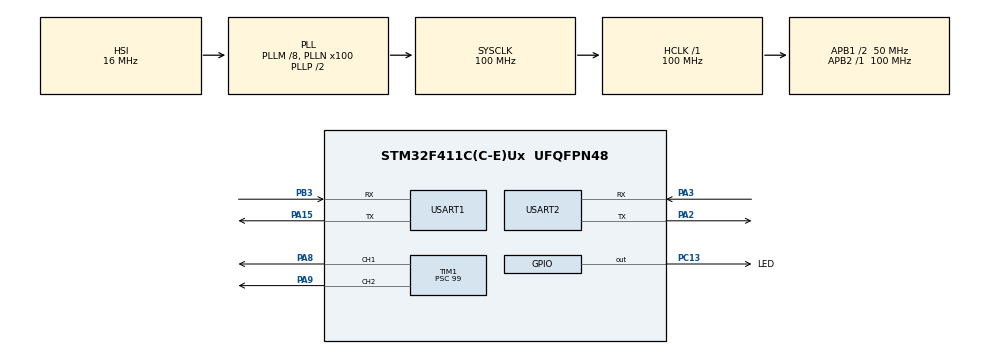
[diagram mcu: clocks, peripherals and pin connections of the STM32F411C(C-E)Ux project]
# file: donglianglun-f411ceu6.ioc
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Dma.Request0=USART1_RX
Dma.USART1_RX.0.Direction=DMA_PERIPH_TO_MEMORY
Dma.USART1_RX.0.FIFOMode=DMA_FIFOMODE_DISABLE
Dma.USART1_RX.0.Instance=DMA2_Stream2
Dma.USART1_RX.0.MemDataAlignment=DMA_MDATAALIGN_BYTE
Dma.USART1_RX.0.MemInc=DMA_MINC_ENABLE
Dma.USART1_RX.0.Mode=DMA_CIRCULAR
Dma.USART1_RX.0.PeriphDataAlignment=DMA_PDATAALIGN_BYTE
Dma.USART1_RX.0.PeriphInc=DMA_PINC_DISABLE
Dma.USART1_RX.0.Priority=DMA_PRIORITY_HIGH
Mcu.Family=STM32F4
Mcu.Name=STM32F411C(C-E)Ux
Mcu.Package=UFQFPN48
NVIC.DMA2_Stream2_IRQn=true\:0\:0\:false\:false\:true\:false\:true
NVIC.PriorityGroup=NVIC_PRIORITYGROUP_4
NVIC.TIM2_IRQn=true\:0\:0\:false\:false\:true\:true\:true
NVIC.USART1_IRQn=true\:0\:0\:false\:false\:false\:true\:true
NVIC.USART2_IRQn=true\:0\:0\:false\:false\:true\:true\:true
PA13.Mode=Serial_Wire
PA13.Signal=SYS_JTMS-SWDIO
PA14.Mode=Serial_Wire
PA14.Signal=SYS_JTCK-SWCLK
PA15.Mode=Asynchronous
PA15.Signal=USART1_TX
PA2.Mode=Asynchronous
PA2.Signal=USART2_TX
PA3.Mode=Asynchronous
PA3.Signal=USART2_RX
PA8.Signal=S_TIM1_CH1
PA9.Signal=S_TIM1_CH2
PB3.Mode=Asynchronous
PB3.Signal=USART1_RX
PC13-ANTI_TAMP.GPIO_Label=LED
PC13-ANTI_TAMP.PinState=GPIO_PIN_SET
PC13-ANTI_TAMP.Signal=GPIO_Output
PH0\ -\ OSC_IN.Mode=HSE-External-Oscillator
PH0\ -\ OSC_IN.Signal=RCC_OSC_IN
PH1\ -\ OSC_OUT.Mode=HSE-External-Oscillator
PH1\ -\ OSC_OUT.Signal=RCC_OSC_OUT
ProjectManager.HeapSize=0x200
ProjectManager.StackSize=0x400
ProjectManager.TargetToolchain=MDK-ARM V5
RCC.48MHZClocksFreq_Value=50000000
RCC.AHBFreq_Value=100000000
RCC.APB1CLKDivider=RCC_HCLK_DIV2
RCC.APB1Freq_Value=50000000
RCC.APB1TimFreq_Value=100000000
RCC.APB2Freq_Value=100000000
RCC.APB2TimFreq_Value=100000000
RCC.CortexFreq_Value=100000000
RCC.HCLKFreq_Value=100000000
RCC.HSE_VALUE=25000000
RCC.HSI_VALUE=16000000
RCC.LSE_VALUE=32768
RCC.PLLM=8
RCC.PLLN=100
RCC.SYSCLKFreq_VALUE=100000000
RCC.SYSCLKSource=RCC_SYSCLKSOURCE_PLLCLK
RCC.VCOOutputFreq_Value=200000000
SH.S_TIM1_CH1.0=TIM1_CH1,PWM Generation1 CH1
SH.S_TIM1_CH2.0=TIM1_CH2,PWM Generation2 CH2
TIM1.AutoReloadPreload=TIM_AUTORELOAD_PRELOAD_ENABLE
TIM1.Channel-PWM\ Generation1\ CH1=TIM_CHANNEL_1
TIM1.Channel-PWM\ Generation2\ CH2=TIM_CHANNEL_2
TIM1.Period=19999
TIM1.Prescaler=99
TIM1.Pulse-PWM\ Generation1\ CH1=1500
TIM1.Pulse-PWM\ Generation2\ CH2=1500
TIM2.Period=19999
TIM2.Prescaler=99
USART1.VirtualMode=VM_ASYNC
USART2.VirtualMode=VM_ASYNC
VP_TIM1_VS_ClockSourceINT.Mode=Internal
VP_TIM2_VS_ClockSourceINT.Mode=Internal
board=custom

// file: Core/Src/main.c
/* USER CODE BEGIN Header */
/**
  ******************************************************************************
  * @file           : main.c
  * @brief          : Main program body
  ******************************************************************************
  * @attention
  *
  * <h2><center>&copy; Copyright (c) 2021 STMicroelectronics.
  * All rights reserved.</center></h2>
  *
  * This software component is licensed by ST under BSD 3-Clause license,
  * the "License"; You may not use this file except in compliance with the
  * License. You may obtain a copy of the License at:
  *                        opensource.org/licenses/BSD-3-Clause
  *
  ******************************************************************************
  */
/* USER CODE END Header */
#include "main.h"
#include "dma.h"
#include "tim.h"
#include "usart.h"
#include "gpio.h"

/* USER CODE BEGIN PD */
#define LED_ON() HAL_GPIO_WritePin(LED_GPIO_Port, LED_Pin, GPIO_PIN_RESET)
#define LED_OFF() HAL_GPIO_WritePin(LED_GPIO_Port, LED_Pin, GPIO_PIN_SET)
#define LED_TOGGLE() HAL_GPIO_TogglePin(LED_GPIO_Port, LED_Pin)

#define ABS(x)		((x>0)? x: -x)

#define PWM_ZERO 1500
#define PWM_AMPLITUDE 300
#define PWMY_MAX PWM_ZERO + PWM_AMPLITUDE
#define PWMY_MIN PWM_ZERO - PWM_AMPLITUDE
#define PWMX_MAX PWM_ZERO + PWM_AMPLITUDE
#define PWMX_MIN PWM_ZERO - PWM_AMPLITUDE

/* USER CODE END PD */

void SystemClock_Config(void);
/* USER CODE BEGIN PFP */
float X_Velocity_Control(int encoder);  // X轴速度控制
float Y_Velocity_Control(int encoder);  // Y轴速度控制
float X_balance_Control(float Angle,float Angle_Zero,float Gyro);  // X轴角度控制
float Y_balance_Control(float Angle,float Angle_Zero,float Gyro);  // Y轴角度控制
void MotorSet(uint16_t mx, uint16_t my);

/* USER CODE END PFP */

/* USER CODE BEGIN 0 */

uint8_t MPUflag=0;
uint8_t MPUBuffer[22];
float MPU_gyro[3]={0};
float MPU_angle[3]={0};

uint8_t Start_Flag=0;
int Balance_X,Balance_Y;  // 三轴角度控制量
int	Velocity_X,Velocity_Y;  // 三轴速度控制量
float MotorX=1500, MotorY=1500;

/* USER CODE END 0 */

int main(void)
{

  /* MCU Configuration--------------------------------------------------------*/

  /* Reset of all peripherals, Initializes the Flash interface and the Systick. */
  HAL_Init();

  /* Configure the system clock */
  SystemClock_Config();

  /* Initialize all configured peripherals */
  MX_GPIO_Init();
  MX_DMA_Init();
  MX_USART1_UART_Init();
  MX_USART2_UART_Init();
  MX_TIM1_Init();
  MX_TIM2_Init();
  /* USER CODE BEGIN 2 */

	/* USART1: MPU9250 115200(DMA) 100hz, USART2: PC 115200 */
	My_UART_DMA_Init();
	HAL_TIM_PWM_Start(&htim1,TIM_CHANNEL_1);
	HAL_TIM_PWM_Start(&htim1,TIM_CHANNEL_2);
	__HAL_TIM_SET_COMPARE(&htim1, TIM_CHANNEL_1, 1500);
	__HAL_TIM_SET_COMPARE(&htim1, TIM_CHANNEL_2, 1500);
	HAL_Delay(1500);
	HAL_TIM_Base_Start_IT(&htim2);

  /* USER CODE END 2 */

  /* Infinite loop */
  /* USER CODE BEGIN WHILE */
	float MotorX_last=1500, MotorY_last=1500;
  while (1)
  {
    /* USER CODE END WHILE */

    /* USER CODE BEGIN 3 */
		if(MPUflag)
		{
			MPUflag = 0;
			/* PID calculate */
			Balance_X = X_balance_Control(MPU_angle[0],0,MPU_gyro[0]);
			Balance_Y = Y_balance_Control(MPU_angle[1],0,MPU_gyro[1]);
			Velocity_X = X_Velocity_Control(MotorX_last-1500);
			Velocity_Y = Y_Velocity_Control(MotorY_last-1500);
			MotorX = 1500 + Balance_X + Velocity_X;
			MotorY = 1500 + Balance_Y + Velocity_Y;
			/* limit max and min */
			if(MotorX > PWMX_MAX) MotorX = PWMX_MAX;
			else if(MotorX < PWMX_MIN) MotorX = PWMX_MIN;
			if(MotorY > PWMY_MAX) MotorY = PWMY_MAX;
			else if(MotorY < PWMY_MIN) MotorY = PWMY_MIN;
			/* save last*/
			MotorX_last = MotorX, MotorY_last = MotorY;
			/* motor output */
			MotorSet(MotorX, MotorY);
		}
	}
  /* USER CODE END 3 */
}

void SystemClock_Config(void)
{
  RCC_OscInitTypeDef RCC_OscInitStruct = {0};
  RCC_ClkInitTypeDef RCC_ClkInitStruct = {0};

  /** Configure the main internal regulator output voltage
  */
  __HAL_RCC_PWR_CLK_ENABLE();
  __HAL_PWR_VOLTAGESCALING_CONFIG(PWR_REGULATOR_VOLTAGE_SCALE1);
  /** Initializes the RCC Oscillators according to the specified parameters
  * in the RCC_OscInitTypeDef structure.
  */
  RCC_OscInitStruct.OscillatorType = RCC_OSCILLATORTYPE_HSI;
  RCC_OscInitStruct.HSIState = RCC_HSI_ON;
  RCC_OscInitStruct.HSICalibrationValue = RCC_HSICALIBRATION_DEFAULT;
  RCC_OscInitStruct.PLL.PLLState = RCC_PLL_ON;
  RCC_OscInitStruct.PLL.PLLSource = RCC_PLLSOURCE_HSI;
  RCC_OscInitStruct.PLL.PLLM = 8;
  RCC_OscInitStruct.PLL.PLLN = 100;
  RCC_OscInitStruct.PLL.PLLP = RCC_PLLP_DIV2;
  RCC_OscInitStruct.PLL.PLLQ = 4;
  if (HAL_RCC_OscConfig(&RCC_OscInitStruct) != HAL_OK)
  {
    Error_Handler();
  }
  /** Initializes the CPU, AHB and APB buses clocks
  */
  RCC_ClkInitStruct.ClockType = RCC_CLOCKTYPE_HCLK|RCC_CLOCKTYPE_SYSCLK
                              |RCC_CLOCKTYPE_PCLK1|RCC_CLOCKTYPE_PCLK2;
  RCC_ClkInitStruct.SYSCLKSource = RCC_SYSCLKSOURCE_PLLCLK;
  RCC_ClkInitStruct.AHBCLKDivider = RCC_SYSCLK_DIV1;
  RCC_ClkInitStruct.APB1CLKDivider = RCC_HCLK_DIV2;
  RCC_ClkInitStruct.APB2CLKDivider = RCC_HCLK_DIV1;

  if (HAL_RCC_ClockConfig(&RCC_ClkInitStruct, FLASH_LATENCY_3) != HAL_OK)
  {
    Error_Handler();
  }
}

/* USER CODE BEGIN 4 */

float Velocity_KP=0.15,Velocity_KI=0.085;   //电机速度控制PI参数  100 20
float Balance_KP=39,Balance_KI=0,Balance_KD=48; //平衡控制PID参数  1100 10 80

/**************************************************************************
X轴平衡PID控制
**************************************************************************/
float X_balance_Control(float Angle,float Angle_Zero,float Gyro)
{
	static float PWM,error,Bias;
	if(Start_Flag==0)
		PWM=0,error=0;                                //停止时参数清零
	else
	{
		Bias=Angle-Angle_Zero;                                          //获取偏差
		error+=Bias;                                                    //偏差累积
		if(error>+30)error=+30;                                         //积分限幅
		if(error<-30)error=-30;                                         //积分限幅
		PWM=Balance_KP*Bias + Balance_KI*error + Gyro*Balance_KD/10;    //获取最终数值
	}
	return PWM;
}
/**************************************************************************
Y轴平衡PID控制
**************************************************************************/
float Y_balance_Control(float Angle,float Angle_Zero,float Gyro)
{
	static float PWM,error,Bias;
	if(Start_Flag==0)
		PWM=0,error=0;                                //停止时参数清零
	else
	{
		Bias=Angle-Angle_Zero;                                          //获取偏差
		error+=Bias;                                                    //偏差累积
		if(error>+30)error=+30;                                         //积分限幅
		if(error<-30)error=-30;                                         //积分限幅
		PWM=Balance_KP*Bias + Balance_KI*error + Gyro*Balance_KD/10;    //获取最终数值
	}
	return PWM;
}
/**************************************************************************
速度PI控制X
**************************************************************************/
float X_Velocity_Control(int encoder)
{
	static float Velocity,Encoder_Least,Encoder,Encoder_Integral;
	if(Start_Flag==0)
		Encoder_Integral=0,Encoder=0,Velocity=0;    //停止时参数清零
	else
	{
		Encoder_Least=encoder;                                        //速度滤波
		Encoder *= 0.7f;		                                            //一阶低通滤波器
		Encoder += Encoder_Least*0.3f;	                                //一阶低通滤波器
		Encoder_Integral +=Encoder;                                   //积分出位移
		if(Encoder_Integral>+300) Encoder_Integral=+300;            //积分限幅
		if(Encoder_Integral<-300) Encoder_Integral=-300;            //积分限幅
		Velocity=Encoder*Velocity_KP+Encoder_Integral*Velocity_KI/100;//获取最终数值
	}
	return Velocity;
}
/**************************************************************************
速度PI控制Y
**************************************************************************/
float Y_Velocity_Control(int encoder)
{
	static float Velocity,Encoder_Least,Encoder,Encoder_Integral;
	if(Start_Flag==0)
		Encoder_Integral=0,Encoder=0,Velocity=0;    //停止时参数清零
	else
	{
		Encoder_Least=encoder;                                        //速度滤波
		Encoder *= 0.7f;		                                            //一阶低通滤波器
		Encoder += Encoder_Least*0.3f;	                                //一阶低通滤波器
		Encoder_Integral +=Encoder;                                   //积分出位移
		if(Encoder_Integral>+300) Encoder_Integral=+300;            //积分限幅
		if(Encoder_Integral<-300) Encoder_Integral=-300;            //积分限幅
		Velocity=Encoder*Velocity_KP+Encoder_Integral*Velocity_KI/100;//速度合成
	}
	return Velocity;
}

void MotorSet(uint16_t mx, uint16_t my)
{
	if(my > PWMY_MAX) my=PWMY_MAX;
	else if(my < PWMY_MIN) my=PWMY_MIN;
	if(mx > PWMX_MAX) mx=PWMX_MAX;
	else if(mx < PWMX_MIN) mx=PWMX_MIN;

	__HAL_TIM_SET_COMPARE(&htim1, TIM_CHANNEL_1, my);
	__HAL_TIM_SET_COMPARE(&htim1, TIM_CHANNEL_2, mx);
}

void HAL_TIM_PeriodElapsedCallback(TIM_HandleTypeDef *htim)
{
	if (htim == (&htim2))  // 20ms
	{
		LED_TOGGLE();
	}
}

void USART1_IRQHandler(void)
{
	uint8_t errorcounter;

  HAL_UART_IRQHandler(&huart1);
	My_UART_RESET_RX_CALLBACK(&huart1);

	if(MPUBuffer[21]!=0)
	{
		errorcounter=0;
		if(MPUBuffer[10]==(uint8_t)(MPUBuffer[0]+MPUBuffer[1]+MPUBuffer[2]+MPUBuffer[3]+MPUBuffer[4]+
										MPUBuffer[5]+MPUBuffer[6]+MPUBuffer[7]+MPUBuffer[8]+MPUBuffer[9])&&MPUBuffer[0]!=0&&MPUBuffer[1]==0x52)
		{
			MPU_gyro[0] = ((short)(MPUBuffer[3]<<8 | MPUBuffer[2]))/32768.0f*2000;
			MPU_gyro[1] = ((short)(MPUBuffer[5]<<8 | MPUBuffer[4]))/32768.0f*2000;
			MPU_gyro[2] = ((short)(MPUBuffer[7]<<8 | MPUBuffer[6]))/32768.0f*2000;
		}
		else errorcounter++;
		if(MPUBuffer[10+11]==(uint8_t)(MPUBuffer[0+11]+MPUBuffer[1+11]+MPUBuffer[2+11]+MPUBuffer[3+11]+MPUBuffer[4+11]+
										MPUBuffer[5+11]+MPUBuffer[6+11]+MPUBuffer[7+11]+MPUBuffer[8+11]+MPUBuffer[9+11])&&MPUBuffer[0+11]!=0&&MPUBuffer[1+11]==0x53)
		{
			MPU_angle[0] = ((short)(MPUBuffer[3+11]<<8| MPUBuffer[2+11]))/32768.0f*180;
			MPU_angle[1] = ((short)(MPUBuffer[5+11]<<8| MPUBuffer[4+11]))/32768.0f*180;
			MPU_angle[2] = ((short)(MPUBuffer[7+11]<<8| MPUBuffer[6+11]))/32768.0f*180;
			MPU_angle[0] -= 0.5f;  // 修正安装误差
			MPU_angle[1] -= 2.3f;  // 修正安装误差
		}
		else errorcounter++;

		if(errorcounter>1) //纠错
		{
			__HAL_DMA_DISABLE(huart1.hdmarx);  //关闭通道
			huart1.hdmarx->Instance->NDTR=sizeof(MPUBuffer); //写寄存器 CNDTR：DMA传输剩余字节数（当通道开启时只读）
			__HAL_DMA_ENABLE(huart1.hdmarx);   //开启通道
		}
		else  // 无错
		{
			if(MPU_angle[0] > 30 || MPU_angle[0] < -30 || MPU_angle[1] > 30 || MPU_angle[1] < -30)
				Start_Flag = 0;
			else
				Start_Flag = 1;
			MPUflag = 1;
		}
	}
}

void HAL_Delay(uint32_t Delay)
{
  uint32_t tickstart = HAL_GetTick();
  uint32_t wait = Delay;

  /* Add a freq to guarantee minimum wait */
//  if (wait < HAL_MAX_DELAY)
//  {
//    wait += (uint32_t)(uwTickFreq);
//  }

  while ((HAL_GetTick() - tickstart) < wait)
  {
  }
}

/* USER CODE END 4 */

void Error_Handler(void)
{
  __disable_irq();
  while (1)
  {
  }
}

/************************ (C) COPYRIGHT STMicroelectronics *****END OF FILE****/
